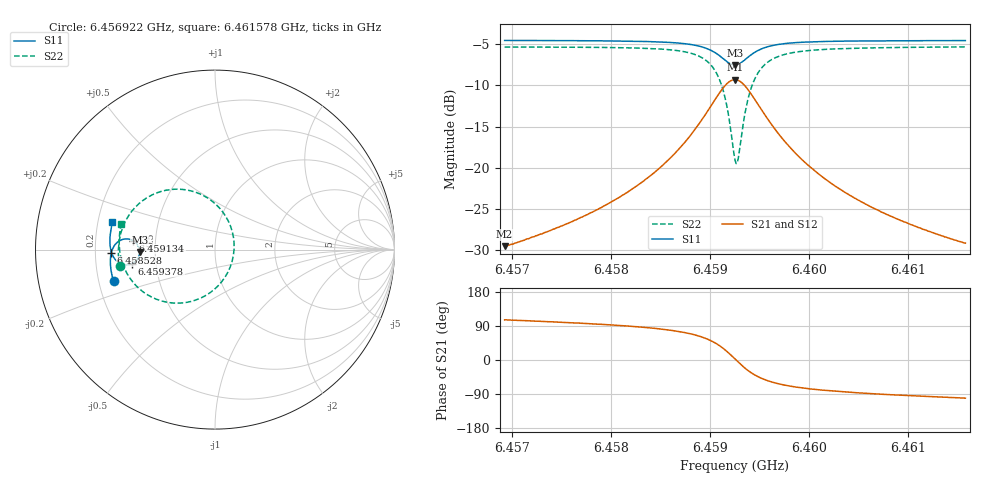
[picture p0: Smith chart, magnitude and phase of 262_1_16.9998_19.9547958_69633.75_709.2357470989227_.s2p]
#  HZ  S  RI  R  50.00
! Rohde & Schwarz Vector Network Analyzer
! Rohde-Schwarz,ZNB20-2Port,1311601062101988,3.16
! Created: UTC 3/20/2024, 11:03:49 PM
! freq[Hz]  re:S11  im:S11  re:S21  im:S21  re:S12  im:S12  re:S22  im:S22
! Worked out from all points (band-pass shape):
!   401 points, 6.456922 GHz to 6.461578 GHz, reference 50 ohm
!   highest |S21| = -9.30 dB at 6.45925 GHz (marker M1); lowest = -29.5 dB at 6.456922 GHz (marker M2)
!   |S21| within 3 dB of the highest: 6.459017 GHz to 6.459482 GHz (465.3 kHz wide, 0.0072 % of centre)
!   lowest |S11| = -7.5 dB at 6.45925 GHz (marker M3), VSWR 2.45, Z = 20.4 - j0.628 ohm
!   |S11| at or under -10 dB: nowhere
!   |S22| runs from -19.5 to -5.3 dB; largest |S21 - S12| = 0.013
!   S11 on the Smith chart (normalised r, x): 6.456922 GHz: 0.26, -0.14; 6.458528 GHz: 0.27, -0.01; 6.459134 GHz: 0.37, +0.05; 6.459378 GHz: 0.37, -0.07; 6.461578 GHz: 0.26, +0.12
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6.456922e9  -0.5651 -0.1771  -0.00913 0.0322  -0.00747 0.0321  -0.5318 -0.0941
6.457702e9  -0.5797 -0.1093  -0.00601 0.0499  -0.00353 0.0493  -0.5384 -0.0034
6.4581443e9  -0.5831 -0.0651  -3.35e-05 0.0701  0.00325 0.0687  -0.5306 0.0665
6.4584819e9  -0.5796 -0.0248  0.0134 0.098  0.0173 0.0954  -0.5065 0.1425
6.4585285e9  -0.5784 -0.0185  0.0166 0.1033  0.0206 0.1005  -0.5003 0.1555
6.458738e9  -0.5663 0.0134  0.0425 0.135  0.0466 0.1304  -0.4521 0.2275
6.4588893e9  -0.5454 0.0396  0.0848 0.1655  0.0881 0.159  -0.3741 0.2919
6.4590407e9  -0.4995 0.0596  0.176 0.1847  0.1771 0.1773  -0.2071 0.3366
6.4591338e9  -0.4553 0.0497  0.2656 0.1542  0.2659 0.1483  -0.0412 0.2876
6.4591804e9  -0.4341 0.031  0.3089 0.1117  0.3104 0.1063  0.0416 0.2118
6.4592502e9  -0.4195 -0.0126  0.3423 0.0155  0.3459 0.00845  0.1064 0.0332
6.4592619e9  -0.4199 -0.0207  0.3421 -0.00221  0.346 -0.00974  0.1061 2.15e-05
6.4592851e9  -0.4234 -0.036  0.3366 -0.0365  0.3405 -0.0457  0.0952 -0.0656
6.4593783e9  -0.4607 -0.0779  0.267 -0.1369  0.2662 -0.15  -0.0458 -0.2522
6.4594248e9  -0.4833 -0.0847  0.223 -0.1592  0.2192 -0.1719  -0.134 -0.2889
6.459483e9  -0.508 -0.0837  0.1741 -0.1685  0.1677 -0.1795  -0.2305 -0.2977
6.4596344e9  -0.5491 -0.0623  0.0917 -0.1528  0.0834 -0.1584  -0.3874 -0.2447
6.4597973e9  -0.5694 -0.0347  0.0495 -0.1254  0.042 -0.128  -0.463 -0.1741
6.4600302e9  -0.581 -0.00105  0.0225 -0.0962  0.0168 -0.0968  -0.5075 -0.0969
6.4603794e9  -0.5857 0.0401  0.00649 -0.0697  0.00253 -0.0692  -0.5291 -0.0177
6.4608101e9  -0.5837 0.0833  -0.00116 -0.0513  -0.004 -0.0506  -0.5337 0.0506
6.4615784e9  -0.5716 0.1511  -0.00647 -0.0344  -0.00799 -0.0334  -0.5224 0.141
